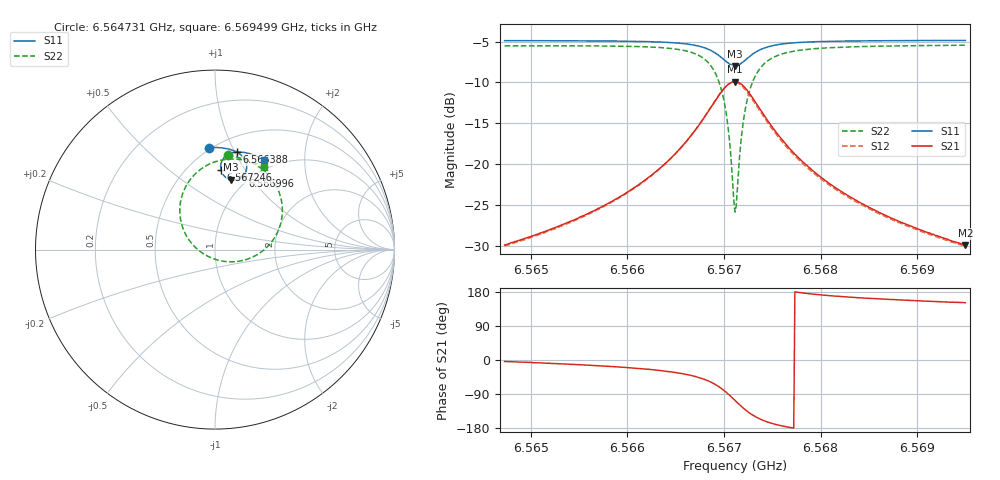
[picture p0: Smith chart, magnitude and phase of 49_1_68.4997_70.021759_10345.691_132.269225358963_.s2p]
#  HZ  S  RI  R  50.00
! Rohde & Schwarz Vector Network Analyzer
! Rohde-Schwarz,ZNB20-2Port,1311601062101988,3.16
! Created: UTC 3/20/2024, 4:50:45 PM
! freq[Hz]  re:S11  im:S11  re:S21  im:S21  re:S12  im:S12  re:S22  im:S22
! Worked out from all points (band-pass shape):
!   401 points, 6.564731 GHz to 6.569499 GHz, reference 50 ohm
!   highest |S21| = -9.90 dB at 6.567115 GHz (marker M1); lowest = -29.9 dB at 6.569499 GHz (marker M2)
!   |S21| within 3 dB of the highest: 6.566875 GHz to 6.567353 GHz (477.4 kHz wide, 0.00727 % of centre)
!   lowest |S11| = -8.0 dB at 6.567115 GHz (marker M3), VSWR 2.33, Z = 42.6 + j39.5 ohm
!   |S11| at or under -10 dB: nowhere
!   |S22| runs from -25.9 to -5.4 dB; largest |S21 - S12| = 0.017
!   S11 on the Smith chart (normalised r, x): 6.564731 GHz: 0.49, +0.82; 6.566388 GHz: 0.65, +1.02; 6.566996 GHz: 0.92, +0.93; 6.567246 GHz: 0.71, +0.79; 6.569499 GHz: 0.87, +1.29
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6.5647308e9  -0.0326 0.5686  0.0319 -0.00217  0.0314 -0.00269  0.0714 0.5245
6.5655294e9  0.0347 0.567  0.0467 -0.0107  0.046 -0.0112  0.1531 0.5064
6.5659585e9  0.0749 0.5604  0.0613 -0.0214  0.0604 -0.0221  0.2096 0.4829
6.5663281e9  0.1146 0.5471  0.0828 -0.0428  0.0816 -0.0438  0.2744 0.4388
6.5663877e9  0.1217 0.5435  0.0876 -0.0487  0.0863 -0.0498  0.2868 0.4268
6.5666261e9  0.1524 0.5205  0.1099 -0.0882  0.1082 -0.0902  0.3441 0.3491
6.5668049e9  0.1739 0.4834  0.1212 -0.154  0.1181 -0.1575  0.3754 0.2225
6.5669122e9  0.175 0.4452  0.1045 -0.2212  0.0982 -0.226  0.3472 0.094
6.5669956e9  0.1557 0.4097  0.0538 -0.2816  0.0427 -0.2852  0.2517 -0.0177
6.5670433e9  0.1327 0.3939  0.00322 -0.3069  -0.0108 -0.3072  0.1566 -0.0603
6.567091e9  0.1028 0.3878  -0.0592 -0.313  -0.0744 -0.3084  0.0425 -0.0644
6.5671148e9  0.087 0.3897  -0.0915 -0.3066  -0.1061 -0.2992  -0.0142 -0.0488
6.5671386e9  0.0721 0.3951  -0.1216 -0.2941  -0.1351 -0.2844  -0.0664 -0.0222
6.5671744e9  0.0532 0.4085  -0.16 -0.2658  -0.1703 -0.2532  -0.1294 0.0336
6.5671982e9  0.0437 0.4198  -0.1794 -0.2428  -0.1873 -0.2292  -0.1595 0.0772
6.5672459e9  0.0331 0.4446  -0.2025 -0.1937  -0.206 -0.1797  -0.1916 0.1668
6.5673413e9  0.0363 0.4879  -0.2043 -0.11  -0.2022 -0.0994  -0.1799 0.3127
6.5674843e9  0.0633 0.5235  -0.1689 -0.0409  -0.165 -0.0351  -0.1028 0.4286
6.5676512e9  0.0951 0.5392  -0.13 -0.00801  -0.1266 -0.00479  -0.0218 0.4809
6.5679135e9  0.134 0.5441  -0.0913 0.00951  -0.0888 0.0108  0.0643 0.503
6.5687121e9  0.2142 0.5275  -0.0444 0.0163  -0.0434 0.0166  0.1979 0.4895
6.5694989e9  0.2748 0.5006  -0.028 0.0153  -0.0273 0.0155  0.2741 0.4583
